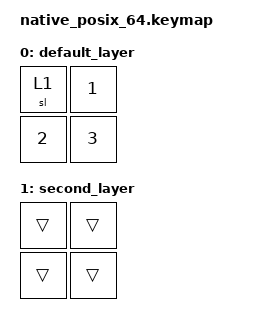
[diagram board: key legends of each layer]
#include <dt-bindings/zmk/keys.h>
#include <behaviors.dtsi>
#include <dt-bindings/zmk/kscan_mock.h>

/ {
	rocknroll {
		compatible = "zmk,rocknroll";
		key-positions = <1 2 3>;

        default_layer {
            bindings = <
                /* Roll-fwd  Roll-back  Rock-fwd  Rock-back */
                /* 0-x */ &kp A &none &none &none
                /* 1-x */ &kp B &none &none &none
                /* 1-0 */ &kp C &kp D &kp E &kp F
                /* 2-x */ &kp G &none &none &none
                /* 2-0 */ &kp H &kp I &kp J &kp K
                /* 2-1 */ &kp L &kp M &kp N &kp O
            >;
        };

        second_layer {
            bindings = <
                /* Roll-fwd  Roll-back  Rock-fwd  Rock-back */
                /* 0-x */ &kp P &none &none &none
                /* 1-x */ &kp Q &none &none &none
                /* 1-0 */ &kp R &kp S &kp T &kp U
                /* 2-x */ &kp V &none &none &none
                /* 2-0 */ &kp W &kp X &kp Y &kp Z
                /* 2-1 */ &kp F1 &kp F2 &kp F3 &kp F4
            >;
        };
	};

	keymap {
		compatible = "zmk,keymap";

		default_layer {
			bindings = <
				&sl 1 &kp N1
                &kp N2 &kp N3
			>;
		};

        second_layer {
            bindings = <
                &trans &trans
                &trans &trans
            >;
        };
	};
};

&kscan {
	events = <
		ZMK_MOCK_PRESS(0,0,10)
		ZMK_MOCK_RELEASE(0,0,10)

		ZMK_MOCK_PRESS(1,0,10)
		ZMK_MOCK_PRESS(0,1,10)
		ZMK_MOCK_RELEASE(1,0,10)
		ZMK_MOCK_RELEASE(0,1,10)

		ZMK_MOCK_PRESS(1,0,10)
		ZMK_MOCK_PRESS(0,1,10)
		ZMK_MOCK_RELEASE(1,0,10)
		ZMK_MOCK_RELEASE(0,1,10)
	>;
};
